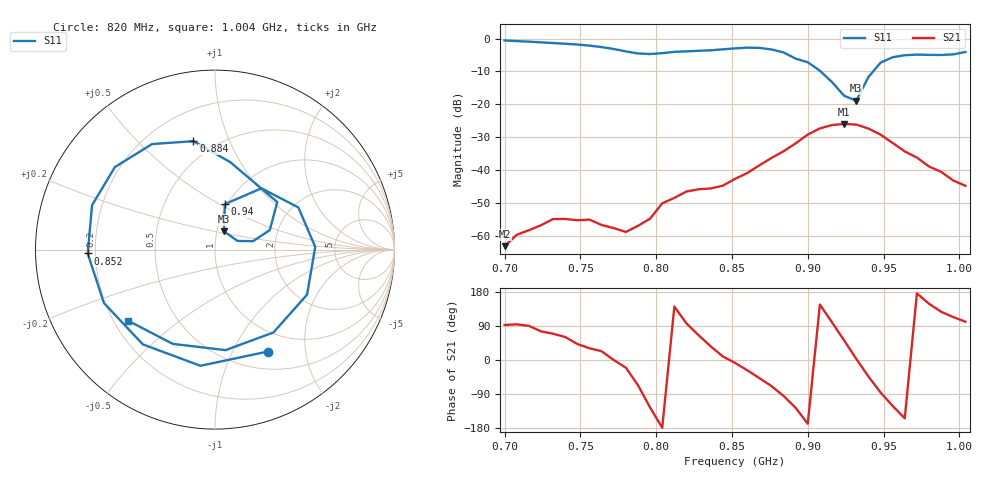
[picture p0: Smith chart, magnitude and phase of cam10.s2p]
# Hz S RI R 50
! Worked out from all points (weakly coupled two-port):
!   39 points, 700 MHz to 1.004 GHz, reference 50 ohm
!   highest |S21| = -26.00 dB at 924 MHz (marker M1); lowest = -63.3 dB at 700 MHz (marker M2)
!   lowest |S11| = -18.9 dB at 932 MHz (marker M3), VSWR 1.25, Z = 54.1 + j11.1 ohm
!   |S11| at or under -10 dB: 908.5 MHz to 943.2 MHz (34.66 MHz wide, 3.74 % of centre)
!   S12 and S22 are empty: the file has one direction only
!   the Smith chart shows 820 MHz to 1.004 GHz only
!   S11 on the Smith chart (normalised r, x): 820 MHz: 0.72, -1.39; 852 MHz: 0.17, -0.01; 884 MHz: 0.38, +0.75; 940 MHz: 0.97, +0.53; 1.004 GHz: 0.26, -0.34
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7e8  0.7572 0.5528  -2.89e-05 0.000687  0 0  0 0
7.24e8  0.8423 -0.2468  0.000356 0.00139  0 0  0 0
7.4e8  0.4568 -0.6994  0.000879 0.00156  0 0  0 0
7.56e8  -0.1891 -0.7585  0.0015 0.0009  0 0  0 0
7.72e8  -0.6633 -0.207  0.0013 -4.95e-07  0 0  0 0
7.8e8  -0.6002 0.2174  0.00106 -0.000395  0 0  0 0
7.88e8  -0.2624 0.5322  0.000559 -0.00129  0 0  0 0
7.96e8  0.2239 0.5375  -0.00105 -0.00147  0 0  0 0
8.04e8  0.567 0.1966  -0.0031 -6.25e-05  0 0  0 0
8.2e8  0.2946 -0.5678  -0.000519 0.00466  0 0  0 0
8.36e8  -0.402 -0.528  0.00422 0.00305  0 0  0 0
8.52e8  -0.7091 -0.0216  0.00722 -0.000967  0 0  0 0
8.68e8  -0.5578 0.4599  0.00787 -0.00866  0 0  0 0
8.84e8  -0.12 0.6041  -0.00159 -0.0191  0 0  0 0
9e8  0.3469 0.2649  -0.0338 -0.00711  0 0  0 0
9.08e8  0.3054 0.1088  -0.0357 0.0238  0 0  0 0
9.24e8  0.1257 0.0482  0.031 0.0393  0 0  0 0
9.32e8  0.0502 0.1012  0.0489 0.00253  0 0  0 0
9.4e8  0.0549 0.2535  0.031 -0.0293  0 0  0 0
9.56e8  0.4645 0.2347  -0.0133 -0.022  0 0  0 0
9.8e8  0.3259 -0.4616  -0.0096 0.00588  0 0  0 0
1.004e9  -0.4843 -0.3959  -0.0011 0.00562  0 0  0 0
